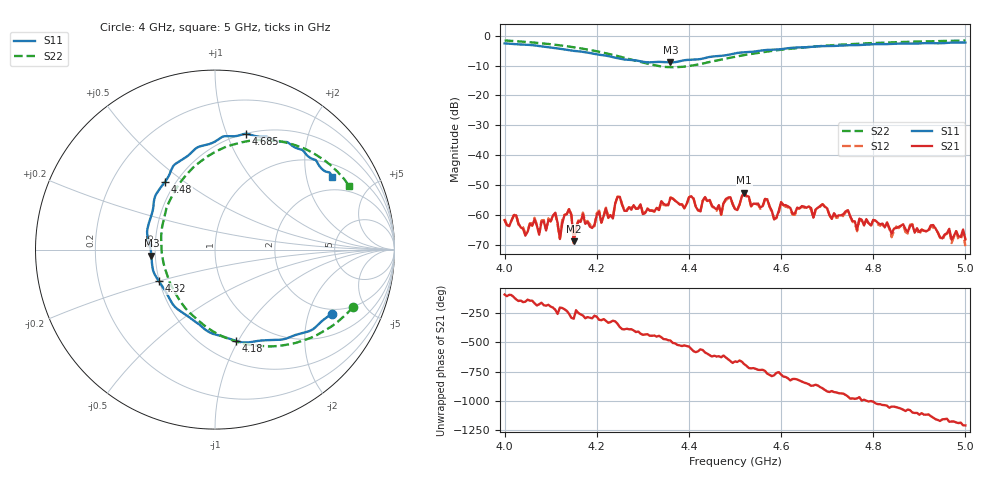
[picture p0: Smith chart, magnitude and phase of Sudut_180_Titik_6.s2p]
# Hz S RI R 50
! CMT, C1220, 16058040, 17.2.0/1
! Date: 15/08/2018 12:11:31
! Data: Format (Calibration Info)
! Freq  S11: Re/Im (F2)  S21: Re/Im (F2)  S12: Re/Im (F2)  S22: Re/Im (F2)
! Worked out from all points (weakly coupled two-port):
!   201 points, 4 GHz to 5 GHz, reference 50 ohm
!   highest |S21| = -52.61 dB at 4.52 GHz (marker M1); lowest = -68.9 dB at 4.15 GHz (marker M2)
!   lowest |S11| = -9.0 dB at 4.36 GHz (marker M3), VSWR 2.11, Z = 23.8 - j1.85 ohm
!   |S11| at or under -10 dB: nowhere
!   |S22| runs from -10.6 to -1.6 dB; largest |S21 - S12| = 0.00011
!   S11 on the Smith chart (normalised r, x): 4 GHz: 1.80, -2.88; 4.18 GHz: 0.70, -0.98; 4.32 GHz: 0.50, -0.20; 4.48 GHz: 0.44, +0.43; 4.685 GHz: 0.50, +1.17; 5 GHz: 1.46, +2.84
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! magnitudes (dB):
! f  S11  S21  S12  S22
! 4 GHz  -2.6  -61.9  -61.5  -1.6
! 4.075 GHz  -3.5  -66.7  -66.0  -2.5
! 4.11 GHz  -4.1  -59.3  -59.7  -3.0
! 4.12 GHz  -4.4  -68.2  -67.8  -3.2
! 4.14 GHz  -4.9  -58.1  -58.0  -3.6
! 4.15 GHz  -5.1  -68.9  -69.6  -3.9
! 4.17 GHz  -5.4  -59.8  -59.3  -4.4
! 4.18 GHz  -5.7  -62.4  -62.1  -4.6
! 4.235 GHz  -7.2  -61.3  -60.6  -6.4
! 4.245 GHz  -7.5  -54.1  -53.9  -6.8
! 4.32 GHz  -8.9  -58.7  -58.5  -9.7
! 4.335 GHz  -8.8  -58.4  -58.4  -10.2
! 4.36 GHz  -9.0  -54.3  -54.2  -10.6
! 4.48 GHz  -6.6  -54.7  -55.2  -7.7
! 4.5 GHz  -5.9  -58.1  -58.2  -7.1
! 4.52 GHz  -5.6  -52.6  -52.9  -6.5
! 4.585 GHz  -4.7  -61.6  -61.4  -5.0
! 4.6 GHz  -4.5  -55.8  -55.8  -4.7
! 4.67 GHz  -3.7  -61.0  -61.2  -3.7
! 4.685 GHz  -3.5  -57.0  -57.3  -3.5
! 4.835 GHz  -2.8  -64.5  -64.6  -2.3
! 5 GHz  -2.3  -68.3  -70.6  -1.6
